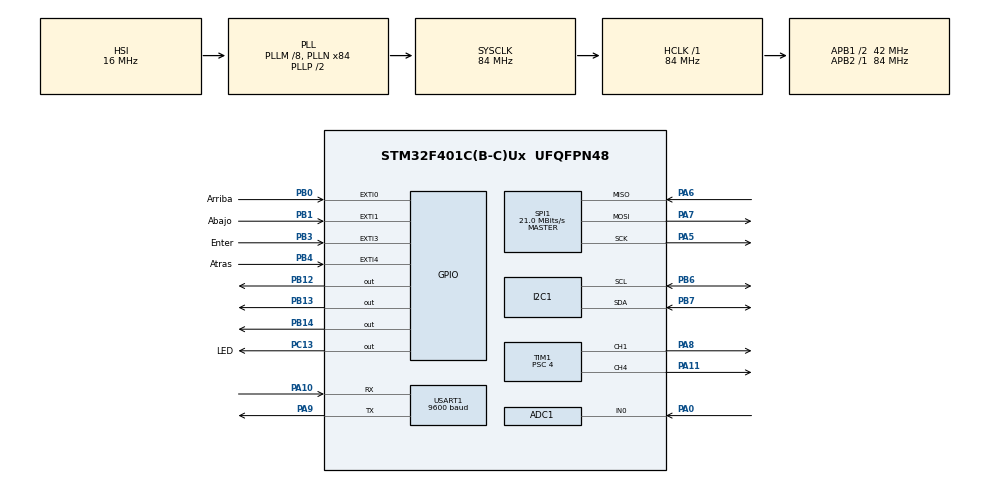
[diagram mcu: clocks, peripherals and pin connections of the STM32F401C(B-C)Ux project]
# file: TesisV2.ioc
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Mcu.Family=STM32F4
PA6.Mode=Full_Duplex_Master
SH.S_TIM1_CH4.0=TIM1_CH4,PWM Generation4 CH4
RCC.CortexFreq_Value=84000000
SPI1.VirtualType=VM_MASTER
Dma.USART1_TX.1.MemInc=DMA_MINC_ENABLE
USART1.BaudRate=9600
NVIC.EXTI3_IRQn=true\:0\:0\:false\:false\:true\:true\:true
VP_RTC_VS_RTC_Activate.Mode=RTC_Enabled
PB0.GPIO_Label=Arriba
PB13.Signal=GPIO_Output
RCC.SYSCLKSource=RCC_SYSCLKSOURCE_PLLCLK
ProjectManager.StackSize=0x400
NVIC.EXTI1_IRQn=true\:0\:0\:false\:false\:true\:true\:true
TIM1.Prescaler=4
PH0\ -\ OSC_IN.Signal=RCC_OSC_IN
TIM1.Channel-PWM\ Generation4\ CH4=TIM_CHANNEL_4
SPI1.Direction=SPI_DIRECTION_2LINES
RCC.HCLKFreq_Value=84000000
RCC.APB2TimFreq_Value=84000000
TIM3.Period=55999
PB6.Signal=I2C1_SCL
PB6.Mode=I2C
SPI1.CalculateBaudRate=21.0 MBits/s
RCC.AHBFreq_Value=84000000
Dma.USART1_RX.0.Priority=DMA_PRIORITY_LOW
ADC1.Channel-0\#ChannelRegularConversion=ADC_CHANNEL_0
RCC.HSE_VALUE=25000000
PC13-ANTI_TAMP.Signal=GPIO_Output
PC14-OSC32_IN.Mode=LSE-External-Oscillator
TIM1.Channel-PWM\ Generation1\ CH1=TIM_CHANNEL_1
PA14.Mode=Serial_Wire
TIM3.Prescaler=149
PB1.GPIO_Label=Abajo
NVIC.TIM2_IRQn=true\:0\:0\:false\:false\:true\:true\:true
PB7.Signal=I2C1_SDA
PA8.Signal=S_TIM1_CH1
SH.ADCx_IN0.0=ADC1_IN0,IN0
TIM4.Period=55999
Dma.USART1_RX.0.MemInc=DMA_MINC_ENABLE
VP_TIM1_VS_ClockSourceINT.Mode=Internal
ADC1.SamplingTime-0\#ChannelRegularConversion=ADC_SAMPLETIME_3CYCLES
Dma.USART1_TX.1.PeriphDataAlignment=DMA_PDATAALIGN_BYTE
Mcu.Package=UFQFPN48
TIM2.Prescaler=999
PB1.Signal=GPXTI1
PA6.Signal=SPI1_MISO
NVIC.DMA2_Stream7_IRQn=true\:0\:0\:false\:false\:true\:false\:true
PA10.Signal=USART1_RX
Dma.USART1_RX.0.FIFOMode=DMA_FIFOMODE_DISABLE
NVIC.DMA2_Stream2_IRQn=true\:0\:0\:false\:false\:true\:false\:true
Dma.Request1=USART1_TX
RCC.APB1TimFreq_Value=84000000
Dma.USART1_RX.0.Mode=DMA_NORMAL
Dma.USART1_TX.1.Priority=DMA_PRIORITY_LOW
TIM1.Period=8399
NVIC.USART1_IRQn=true\:0\:0\:false\:false\:true\:true\:true
Dma.Request0=USART1_RX
SPI1.BaudRatePrescaler=SPI_BAUDRATEPRESCALER_4
Dma.USART1_RX.0.Instance=DMA2_Stream2
VP_TIM3_VS_ClockSourceINT.Mode=Internal
PB4.Signal=GPXTI4
PA5.Mode=Full_Duplex_Master
Dma.USART1_TX.1.Direction=DMA_MEMORY_TO_PERIPH
PB3.GPIO_Label=Enter
PC15-OSC32_OUT.Mode=LSE-External-Oscillator
Dma.USART1_TX.1.Instance=DMA2_Stream7
NVIC.EXTI4_IRQn=true\:0\:0\:false\:false\:true\:true\:true
ADC1.Rank-0\#ChannelRegularConversion=1
PA7.Mode=Full_Duplex_Master
Dma.USART1_RX.0.PeriphDataAlignment=DMA_PDATAALIGN_BYTE
PA10.Mode=Asynchronous
PC13-ANTI_TAMP.GPIO_Label=LED
PH1\ -\ OSC_OUT.Mode=HSE-External-Oscillator
RCC.APB1CLKDivider=RCC_HCLK_DIV2
PC14-OSC32_IN.Signal=RCC_OSC32_IN
PC13-ANTI_TAMP.PinState=GPIO_PIN_SET
PA0-WKUP.Signal=ADCx_IN0
PA13.Signal=SYS_JTMS-SWDIO
PA9.Mode=Asynchronous
PH0\ -\ OSC_IN.Mode=HSE-External-Oscillator
SH.S_TIM1_CH1.0=TIM1_CH1,PWM Generation1 CH1
ProjectManager.TargetToolchain=STM32CubeIDE
PB14.GPIO_Speed=GPIO_SPEED_FREQ_LOW
Dma.USART1_RX.0.Direction=DMA_PERIPH_TO_MEMORY
PA9.Signal=USART1_TX
PB13.GPIO_Speed=GPIO_SPEED_FREQ_LOW
Dma.USART1_TX.1.FIFOMode=DMA_FIFOMODE_DISABLE
TIM4.Prescaler=1499
PC15-OSC32_OUT.Signal=RCC_OSC32_OUT
Dma.USART1_RX.0.PeriphInc=DMA_PINC_DISABLE
PB12.GPIO_Speed=GPIO_SPEED_FREQ_LOW
PB14.Signal=GPIO_Output
PA5.Signal=SPI1_SCK
PH1\ -\ OSC_OUT.Signal=RCC_OSC_OUT
Dma.USART1_TX.1.MemDataAlignment=DMA_MDATAALIGN_BYTE
board=custom
RCC.VCOOutputFreq_Value=168000000
NVIC.TIM3_IRQn=true\:0\:0\:false\:false\:true\:true\:true
RCC.APB2Freq_Value=84000000
PB4.GPIO_Label=Atras
VP_TIM2_VS_ClockSourceINT.Mode=Internal
SPI1.Mode=SPI_MODE_MASTER
Dma.USART1_RX.0.MemDataAlignment=DMA_MDATAALIGN_BYTE
TIM2.Period=7199
PA13.Mode=Serial_Wire
Mcu.Name=STM32F401C(B-C)Ux
RCC.48MHZClocksFreq_Value=42000000
PB3.Signal=GPXTI3
NVIC.EXTI0_IRQn=true\:0\:0\:false\:false\:true\:true\:true
RCC.SYSCLKFreq_VALUE=84000000
ADC1.master=1
Dma.USART1_TX.1.Mode=DMA_NORMAL
USART1.VirtualMode=VM_ASYNC
PB7.Mode=I2C
PA11.Signal=S_TIM1_CH4
PA14.Signal=SYS_JTCK-SWCLK
ProjectManager.HeapSize=0x200
Dma.USART1_TX.1.PeriphInc=DMA_PINC_DISABLE
RCC.HSI_VALUE=16000000
VP_TIM4_VS_ClockSourceINT.Mode=Internal
NVIC.PriorityGroup=NVIC_PRIORITYGROUP_4
ADC1.NbrOfConversionFlag=1
RCC.PLLM=8
RCC.PLLN=84
NVIC.TIM4_IRQn=true\:0\:0\:false\:false\:true\:true\:true
RCC.APB1Freq_Value=42000000
PB0.Signal=GPXTI0
ADC1.ClockPrescaler=ADC_CLOCK_SYNC_PCLK_DIV4
PB12.Signal=GPIO_Output
PA7.Signal=SPI1_MOSI

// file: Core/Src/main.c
/* USER CODE BEGIN Header */
/**
  ******************************************************************************
  * @file           : main.c
  * @brief          : Main program body
  ******************************************************************************
  * @attention
  *
  * <h2><center>&copy; Copyright (c) 2021 STMicroelectronics.
  * All rights reserved.</center></h2>
  *
  * This software component is licensed by ST under BSD 3-Clause license,
  * the "License"; You may not use this file except in compliance with the
  * License. You may obtain a copy of the License at:
  *                        opensource.org/licenses/BSD-3-Clause
  *
  ******************************************************************************
  */
/* USER CODE END Header */
#include "main.h"

/* USER CODE BEGIN Includes */
#include "string.h"
#include "stdio.h"
#include "stdlib.h"
#include "ST7735.h"
#include "GFX_FUNCTIONS.h"
#include "MPU_9250.h"
#include "image.h"
/* USER CODE END Includes */

ADC_HandleTypeDef hadc1;

I2C_HandleTypeDef hi2c1;

RTC_HandleTypeDef hrtc;

SPI_HandleTypeDef hspi1;

TIM_HandleTypeDef htim1;
TIM_HandleTypeDef htim2;
TIM_HandleTypeDef htim3;
TIM_HandleTypeDef htim4;

UART_HandleTypeDef huart1;
DMA_HandleTypeDef hdma_usart1_rx;
DMA_HandleTypeDef hdma_usart1_tx;

void SystemClock_Config(void);
static void MX_GPIO_Init(void);
static void MX_DMA_Init(void);
static void MX_I2C1_Init(void);
static void MX_TIM2_Init(void);
static void MX_USART1_UART_Init(void);
static void MX_RTC_Init(void);
static void MX_SPI1_Init(void);
static void MX_ADC1_Init(void);
static void MX_TIM1_Init(void);
static void MX_TIM3_Init(void);
static void MX_TIM4_Init(void);
/* USER CODE BEGIN PFP */
void Logo_Ecci(void);
void set_time(void);
void get_time(void);
void Clock_Ecci(void);

/* USER CODE END PFP */

/* USER CODE BEGIN 0 */
float pulse = 8399;
int iniSendUart = 0;
char Nombre[50];

uint8_t rx_buff[1];
void HAL_UART_RxCpltCallback (UART_HandleTypeDef *huart){
	HAL_UART_Receive_DMA(&huart1,rx_buff,1);
	if(rx_buff[0] == 49){
		//HAL_TIM_Base_Start_IT(&htim2);
		iniSendUart = 1;
	}
	else if(rx_buff[0] == 115){
		HAL_TIM_Base_Stop_IT(&htim2);
	}
}
/* USER CODE END 0 */

int main(void)
{

  /* MCU Configuration--------------------------------------------------------*/

  /* Reset of all peripherals, Initializes the Flash interface and the Systick. */
  HAL_Init();

  /* Configure the system clock */
  SystemClock_Config();

  /* Initialize all configured peripherals */
  MX_GPIO_Init();
  MX_DMA_Init();
  MX_I2C1_Init();
  MX_TIM2_Init();
  MX_USART1_UART_Init();
  MX_RTC_Init();
  MX_SPI1_Init();
  MX_ADC1_Init();
  MX_TIM1_Init();
  MX_TIM3_Init();
  MX_TIM4_Init();
  /* USER CODE BEGIN 2 */
  HAL_TIM_PWM_Start(&htim1,TIM_CHANNEL_4);
  __HAL_TIM_SET_COMPARE(&htim1, TIM_CHANNEL_4, pulse);
  zeros();
  ST7735_Init(0);
  	if(HAL_RTCEx_BKUPRead(&hrtc, RTC_BKP_DR1) != 0x32F2){
  		set_time();
  	}
  	fillScreen(BLACK);
  	sprintf(Nombre,"Created By:");
  	ST7735_WriteString(25,0,Nombre, Font_7x10, WHITE,BLACK);
  	sprintf(Nombre,"Esteban Beltran");
  	ST7735_WriteString(11,50,Nombre, Font_7x10, WHITE,BLACK);
  	sprintf(Nombre,"Eng. Mechatronic");
  	ST7735_WriteString(8,65,Nombre, Font_7x10, WHITE,BLACK);
  	sprintf(Nombre,"Fimware V.2.0.0.");
  	ST7735_WriteString(8,110,Nombre, Font_7x10, WHITE,BLACK);
  	HAL_Delay(800);
  	fillScreen(BLACK);
  	Logo_Ecci();
  	HAL_Delay(1000);
  	MPU9250_Init();
  	initAK8963();
  	HAL_UART_Receive_DMA(&huart1,rx_buff,1);
  	for (int i = 0; i<15;i++){
  		MPU9250_LectureWithFilter();
  	}
  /* USER CODE END 2 */

  /* Infinite loop */
  while (1)
  {

  }
}

void SystemClock_Config(void)
{
  RCC_OscInitTypeDef RCC_OscInitStruct = {0};
  RCC_ClkInitTypeDef RCC_ClkInitStruct = {0};
  RCC_PeriphCLKInitTypeDef PeriphClkInitStruct = {0};

  /** Configure the main internal regulator output voltage
  */
  __HAL_RCC_PWR_CLK_ENABLE();
  __HAL_PWR_VOLTAGESCALING_CONFIG(PWR_REGULATOR_VOLTAGE_SCALE2);
  /** Initializes the RCC Oscillators according to the specified parameters
  * in the RCC_OscInitTypeDef structure.
  */
  RCC_OscInitStruct.OscillatorType = RCC_OSCILLATORTYPE_HSI|RCC_OSCILLATORTYPE_LSI;
  RCC_OscInitStruct.HSIState = RCC_HSI_ON;
  RCC_OscInitStruct.HSICalibrationValue = RCC_HSICALIBRATION_DEFAULT;
  RCC_OscInitStruct.LSIState = RCC_LSI_ON;
  RCC_OscInitStruct.PLL.PLLState = RCC_PLL_ON;
  RCC_OscInitStruct.PLL.PLLSource = RCC_PLLSOURCE_HSI;
  RCC_OscInitStruct.PLL.PLLM = 8;
  RCC_OscInitStruct.PLL.PLLN = 84;
  RCC_OscInitStruct.PLL.PLLP = RCC_PLLP_DIV2;
  RCC_OscInitStruct.PLL.PLLQ = 4;
  if (HAL_RCC_OscConfig(&RCC_OscInitStruct) != HAL_OK)
  {
    Error_Handler();
  }
  /** Initializes the CPU, AHB and APB buses clocks
  */
  RCC_ClkInitStruct.ClockType = RCC_CLOCKTYPE_HCLK|RCC_CLOCKTYPE_SYSCLK
                              |RCC_CLOCKTYPE_PCLK1|RCC_CLOCKTYPE_PCLK2;
  RCC_ClkInitStruct.SYSCLKSource = RCC_SYSCLKSOURCE_PLLCLK;
  RCC_ClkInitStruct.AHBCLKDivider = RCC_SYSCLK_DIV1;
  RCC_ClkInitStruct.APB1CLKDivider = RCC_HCLK_DIV2;
  RCC_ClkInitStruct.APB2CLKDivider = RCC_HCLK_DIV1;

  if (HAL_RCC_ClockConfig(&RCC_ClkInitStruct, FLASH_LATENCY_2) != HAL_OK)
  {
    Error_Handler();
  }
  PeriphClkInitStruct.PeriphClockSelection = RCC_PERIPHCLK_RTC;
  PeriphClkInitStruct.RTCClockSelection = RCC_RTCCLKSOURCE_LSI;
  if (HAL_RCCEx_PeriphCLKConfig(&PeriphClkInitStruct) != HAL_OK)
  {
    Error_Handler();
  }
}

static void MX_ADC1_Init(void)
{

  ADC_ChannelConfTypeDef sConfig = {0};

  /** Configure the global features of the ADC (Clock, Resolution, Data Alignment and number of conversion)
  */
  hadc1.Instance = ADC1;
  hadc1.Init.ClockPrescaler = ADC_CLOCK_SYNC_PCLK_DIV4;
  hadc1.Init.Resolution = ADC_RESOLUTION_12B;
  hadc1.Init.ScanConvMode = DISABLE;
  hadc1.Init.ContinuousConvMode = DISABLE;
  hadc1.Init.DiscontinuousConvMode = DISABLE;
  hadc1.Init.ExternalTrigConvEdge = ADC_EXTERNALTRIGCONVEDGE_NONE;
  hadc1.Init.ExternalTrigConv = ADC_SOFTWARE_START;
  hadc1.Init.DataAlign = ADC_DATAALIGN_RIGHT;
  hadc1.Init.NbrOfConversion = 1;
  hadc1.Init.DMAContinuousRequests = DISABLE;
  hadc1.Init.EOCSelection = ADC_EOC_SINGLE_CONV;
  if (HAL_ADC_Init(&hadc1) != HAL_OK)
  {
    Error_Handler();
  }
  /** Configure for the selected ADC regular channel its corresponding rank in the sequencer and its sample time.
  */
  sConfig.Channel = ADC_CHANNEL_0;
  sConfig.Rank = 1;
  sConfig.SamplingTime = ADC_SAMPLETIME_3CYCLES;
  if (HAL_ADC_ConfigChannel(&hadc1, &sConfig) != HAL_OK)
  {
    Error_Handler();
  }

}

static void MX_I2C1_Init(void)
{

  hi2c1.Instance = I2C1;
  hi2c1.Init.ClockSpeed = 100000;
  hi2c1.Init.DutyCycle = I2C_DUTYCYCLE_2;
  hi2c1.Init.OwnAddress1 = 0;
  hi2c1.Init.AddressingMode = I2C_ADDRESSINGMODE_7BIT;
  hi2c1.Init.DualAddressMode = I2C_DUALADDRESS_DISABLE;
  hi2c1.Init.OwnAddress2 = 0;
  hi2c1.Init.GeneralCallMode = I2C_GENERALCALL_DISABLE;
  hi2c1.Init.NoStretchMode = I2C_NOSTRETCH_DISABLE;
  if (HAL_I2C_Init(&hi2c1) != HAL_OK)
  {
    Error_Handler();
  }

}

static void MX_RTC_Init(void)
{

  /** Initialize RTC Only
  */
  hrtc.Instance = RTC;
  hrtc.Init.HourFormat = RTC_HOURFORMAT_24;
  hrtc.Init.AsynchPrediv = 127;
  hrtc.Init.SynchPrediv = 255;
  hrtc.Init.OutPut = RTC_OUTPUT_DISABLE;
  hrtc.Init.OutPutPolarity = RTC_OUTPUT_POLARITY_HIGH;
  hrtc.Init.OutPutType = RTC_OUTPUT_TYPE_OPENDRAIN;
  if (HAL_RTC_Init(&hrtc) != HAL_OK)
  {
    Error_Handler();
  }

}

static void MX_SPI1_Init(void)
{

  /* SPI1 parameter configuration*/
  hspi1.Instance = SPI1;
  hspi1.Init.Mode = SPI_MODE_MASTER;
  hspi1.Init.Direction = SPI_DIRECTION_2LINES;
  hspi1.Init.DataSize = SPI_DATASIZE_8BIT;
  hspi1.Init.CLKPolarity = SPI_POLARITY_LOW;
  hspi1.Init.CLKPhase = SPI_PHASE_1EDGE;
  hspi1.Init.NSS = SPI_NSS_SOFT;
  hspi1.Init.BaudRatePrescaler = SPI_BAUDRATEPRESCALER_4;
  hspi1.Init.FirstBit = SPI_FIRSTBIT_MSB;
  hspi1.Init.TIMode = SPI_TIMODE_DISABLE;
  hspi1.Init.CRCCalculation = SPI_CRCCALCULATION_DISABLE;
  hspi1.Init.CRCPolynomial = 10;
  if (HAL_SPI_Init(&hspi1) != HAL_OK)
  {
    Error_Handler();
  }

}

static void MX_TIM1_Init(void)
{

  TIM_ClockConfigTypeDef sClockSourceConfig = {0};
  TIM_MasterConfigTypeDef sMasterConfig = {0};
  TIM_OC_InitTypeDef sConfigOC = {0};
  TIM_BreakDeadTimeConfigTypeDef sBreakDeadTimeConfig = {0};

  htim1.Instance = TIM1;
  htim1.Init.Prescaler = 4;
  htim1.Init.CounterMode = TIM_COUNTERMODE_UP;
  htim1.Init.Period = 8399;
  htim1.Init.ClockDivision = TIM_CLOCKDIVISION_DIV1;
  htim1.Init.RepetitionCounter = 0;
  htim1.Init.AutoReloadPreload = TIM_AUTORELOAD_PRELOAD_DISABLE;
  if (HAL_TIM_Base_Init(&htim1) != HAL_OK)
  {
    Error_Handler();
  }
  sClockSourceConfig.ClockSource = TIM_CLOCKSOURCE_INTERNAL;
  if (HAL_TIM_ConfigClockSource(&htim1, &sClockSourceConfig) != HAL_OK)
  {
    Error_Handler();
  }
  if (HAL_TIM_PWM_Init(&htim1) != HAL_OK)
  {
    Error_Handler();
  }
  sMasterConfig.MasterOutputTrigger = TIM_TRGO_RESET;
  sMasterConfig.MasterSlaveMode = TIM_MASTERSLAVEMODE_DISABLE;
  if (HAL_TIMEx_MasterConfigSynchronization(&htim1, &sMasterConfig) != HAL_OK)
  {
    Error_Handler();
  }
  sConfigOC.OCMode = TIM_OCMODE_PWM1;
  sConfigOC.Pulse = 0;
  sConfigOC.OCPolarity = TIM_OCPOLARITY_HIGH;
  sConfigOC.OCNPolarity = TIM_OCNPOLARITY_HIGH;
  sConfigOC.OCFastMode = TIM_OCFAST_DISABLE;
  sConfigOC.OCIdleState = TIM_OCIDLESTATE_RESET;
  sConfigOC.OCNIdleState = TIM_OCNIDLESTATE_RESET;
  if (HAL_TIM_PWM_ConfigChannel(&htim1, &sConfigOC, TIM_CHANNEL_1) != HAL_OK)
  {
    Error_Handler();
  }
  if (HAL_TIM_PWM_ConfigChannel(&htim1, &sConfigOC, TIM_CHANNEL_4) != HAL_OK)
  {
    Error_Handler();
  }
  sBreakDeadTimeConfig.OffStateRunMode = TIM_OSSR_DISABLE;
  sBreakDeadTimeConfig.OffStateIDLEMode = TIM_OSSI_DISABLE;
  sBreakDeadTimeConfig.LockLevel = TIM_LOCKLEVEL_OFF;
  sBreakDeadTimeConfig.DeadTime = 0;
  sBreakDeadTimeConfig.BreakState = TIM_BREAK_DISABLE;
  sBreakDeadTimeConfig.BreakPolarity = TIM_BREAKPOLARITY_HIGH;
  sBreakDeadTimeConfig.AutomaticOutput = TIM_AUTOMATICOUTPUT_DISABLE;
  if (HAL_TIMEx_ConfigBreakDeadTime(&htim1, &sBreakDeadTimeConfig) != HAL_OK)
  {
    Error_Handler();
  }
  HAL_TIM_MspPostInit(&htim1);

}

static void MX_TIM2_Init(void)
{

  TIM_ClockConfigTypeDef sClockSourceConfig = {0};
  TIM_MasterConfigTypeDef sMasterConfig = {0};

  htim2.Instance = TIM2;
  htim2.Init.Prescaler = 999;
  htim2.Init.CounterMode = TIM_COUNTERMODE_UP;
  htim2.Init.Period = 7199;
  htim2.Init.ClockDivision = TIM_CLOCKDIVISION_DIV1;
  htim2.Init.AutoReloadPreload = TIM_AUTORELOAD_PRELOAD_DISABLE;
  if (HAL_TIM_Base_Init(&htim2) != HAL_OK)
  {
    Error_Handler();
  }
  sClockSourceConfig.ClockSource = TIM_CLOCKSOURCE_INTERNAL;
  if (HAL_TIM_ConfigClockSource(&htim2, &sClockSourceConfig) != HAL_OK)
  {
    Error_Handler();
  }
  sMasterConfig.MasterOutputTrigger = TIM_TRGO_RESET;
  sMasterConfig.MasterSlaveMode = TIM_MASTERSLAVEMODE_DISABLE;
  if (HAL_TIMEx_MasterConfigSynchronization(&htim2, &sMasterConfig) != HAL_OK)
  {
    Error_Handler();
  }

}

static void MX_TIM3_Init(void)
{

  TIM_ClockConfigTypeDef sClockSourceConfig = {0};
  TIM_MasterConfigTypeDef sMasterConfig = {0};

  htim3.Instance = TIM3;
  htim3.Init.Prescaler = 149;
  htim3.Init.CounterMode = TIM_COUNTERMODE_UP;
  htim3.Init.Period = 55999;
  htim3.Init.ClockDivision = TIM_CLOCKDIVISION_DIV1;
  htim3.Init.AutoReloadPreload = TIM_AUTORELOAD_PRELOAD_DISABLE;
  if (HAL_TIM_Base_Init(&htim3) != HAL_OK)
  {
    Error_Handler();
  }
  sClockSourceConfig.ClockSource = TIM_CLOCKSOURCE_INTERNAL;
  if (HAL_TIM_ConfigClockSource(&htim3, &sClockSourceConfig) != HAL_OK)
  {
    Error_Handler();
  }
  sMasterConfig.MasterOutputTrigger = TIM_TRGO_RESET;
  sMasterConfig.MasterSlaveMode = TIM_MASTERSLAVEMODE_DISABLE;
  if (HAL_TIMEx_MasterConfigSynchronization(&htim3, &sMasterConfig) != HAL_OK)
  {
    Error_Handler();
  }

}

static void MX_TIM4_Init(void)
{

  TIM_ClockConfigTypeDef sClockSourceConfig = {0};
  TIM_MasterConfigTypeDef sMasterConfig = {0};

  htim4.Instance = TIM4;
  htim4.Init.Prescaler = 1499;
  htim4.Init.CounterMode = TIM_COUNTERMODE_UP;
  htim4.Init.Period = 55999;
  htim4.Init.ClockDivision = TIM_CLOCKDIVISION_DIV1;
  htim4.Init.AutoReloadPreload = TIM_AUTORELOAD_PRELOAD_DISABLE;
  if (HAL_TIM_Base_Init(&htim4) != HAL_OK)
  {
    Error_Handler();
  }
  sClockSourceConfig.ClockSource = TIM_CLOCKSOURCE_INTERNAL;
  if (HAL_TIM_ConfigClockSource(&htim4, &sClockSourceConfig) != HAL_OK)
  {
    Error_Handler();
  }
  sMasterConfig.MasterOutputTrigger = TIM_TRGO_RESET;
  sMasterConfig.MasterSlaveMode = TIM_MASTERSLAVEMODE_DISABLE;
  if (HAL_TIMEx_MasterConfigSynchronization(&htim4, &sMasterConfig) != HAL_OK)
  {
    Error_Handler();
  }

}

static void MX_USART1_UART_Init(void)
{

  huart1.Instance = USART1;
  huart1.Init.BaudRate = 9600;
  huart1.Init.WordLength = UART_WORDLENGTH_8B;
  huart1.Init.StopBits = UART_STOPBITS_1;
  huart1.Init.Parity = UART_PARITY_NONE;
  huart1.Init.Mode = UART_MODE_TX_RX;
  huart1.Init.HwFlowCtl = UART_HWCONTROL_NONE;
  huart1.Init.OverSampling = UART_OVERSAMPLING_16;
  if (HAL_UART_Init(&huart1) != HAL_OK)
  {
    Error_Handler();
  }

}

static void MX_DMA_Init(void)
{

  /* DMA controller clock enable */
  __HAL_RCC_DMA2_CLK_ENABLE();

  /* DMA interrupt init */
  /* DMA2_Stream2_IRQn interrupt configuration */
  HAL_NVIC_SetPriority(DMA2_Stream2_IRQn, 0, 0);
  HAL_NVIC_EnableIRQ(DMA2_Stream2_IRQn);
  /* DMA2_Stream7_IRQn interrupt configuration */
  HAL_NVIC_SetPriority(DMA2_Stream7_IRQn, 0, 0);
  HAL_NVIC_EnableIRQ(DMA2_Stream7_IRQn);

}

static void MX_GPIO_Init(void)
{
  GPIO_InitTypeDef GPIO_InitStruct = {0};

  /* GPIO Ports Clock Enable */
  __HAL_RCC_GPIOC_CLK_ENABLE();
  __HAL_RCC_GPIOH_CLK_ENABLE();
  __HAL_RCC_GPIOA_CLK_ENABLE();
  __HAL_RCC_GPIOB_CLK_ENABLE();

  /*Configure GPIO pin Output Level */
  HAL_GPIO_WritePin(LED_GPIO_Port, LED_Pin, GPIO_PIN_SET);

  /*Configure GPIO pin Output Level */
  HAL_GPIO_WritePin(GPIOB, GPIO_PIN_12|GPIO_PIN_13|GPIO_PIN_14, GPIO_PIN_RESET);

  /*Configure GPIO pin : LED_Pin */
  GPIO_InitStruct.Pin = LED_Pin;
  GPIO_InitStruct.Mode = GPIO_MODE_OUTPUT_PP;
  GPIO_InitStruct.Pull = GPIO_NOPULL;
  GPIO_InitStruct.Speed = GPIO_SPEED_FREQ_LOW;
  HAL_GPIO_Init(LED_GPIO_Port, &GPIO_InitStruct);

  /*Configure GPIO pins : PA1 PA2 PA3 PA4
                           PA12 PA15 */
  GPIO_InitStruct.Pin = GPIO_PIN_1|GPIO_PIN_2|GPIO_PIN_3|GPIO_PIN_4
                          |GPIO_PIN_12|GPIO_PIN_15;
  GPIO_InitStruct.Mode = GPIO_MODE_ANALOG;
  GPIO_InitStruct.Pull = GPIO_NOPULL;
  HAL_GPIO_Init(GPIOA, &GPIO_InitStruct);

  /*Configure GPIO pins : Arriba_Pin Abajo_Pin Enter_Pin Atras_Pin */
  GPIO_InitStruct.Pin = Arriba_Pin|Abajo_Pin|Enter_Pin|Atras_Pin;
  GPIO_InitStruct.Mode = GPIO_MODE_IT_RISING;
  GPIO_InitStruct.Pull = GPIO_NOPULL;
  HAL_GPIO_Init(GPIOB, &GPIO_InitStruct);

  /*Configure GPIO pins : PB2 PB10 PB15 PB5
                           PB8 PB9 */
  GPIO_InitStruct.Pin = GPIO_PIN_2|GPIO_PIN_10|GPIO_PIN_15|GPIO_PIN_5
                          |GPIO_PIN_8|GPIO_PIN_9;
  GPIO_InitStruct.Mode = GPIO_MODE_ANALOG;
  GPIO_InitStruct.Pull = GPIO_NOPULL;
  HAL_GPIO_Init(GPIOB, &GPIO_InitStruct);

  /*Configure GPIO pins : PB12 PB13 PB14 */
  GPIO_InitStruct.Pin = GPIO_PIN_12|GPIO_PIN_13|GPIO_PIN_14;
  GPIO_InitStruct.Mode = GPIO_MODE_OUTPUT_PP;
  GPIO_InitStruct.Pull = GPIO_NOPULL;
  GPIO_InitStruct.Speed = GPIO_SPEED_FREQ_LOW;
  HAL_GPIO_Init(GPIOB, &GPIO_InitStruct);

  /* EXTI interrupt init*/
  HAL_NVIC_SetPriority(EXTI0_IRQn, 0, 0);
  HAL_NVIC_EnableIRQ(EXTI0_IRQn);

  HAL_NVIC_SetPriority(EXTI1_IRQn, 0, 0);
  HAL_NVIC_EnableIRQ(EXTI1_IRQn);

  HAL_NVIC_SetPriority(EXTI3_IRQn, 0, 0);
  HAL_NVIC_EnableIRQ(EXTI3_IRQn);

  HAL_NVIC_SetPriority(EXTI4_IRQn, 0, 0);
  HAL_NVIC_EnableIRQ(EXTI4_IRQn);

}

/* USER CODE BEGIN 4 */
void Logo_Ecci(void){

	for(int i=0;i<7;i++){
		drawLine(15,24,64,i,BLUE);
		drawLine(15,26,80,i+3,BLUE);
		drawLine(16,28,100,i+6,BLUE);
		drawLine(17,30,119,i+10,BLUE);
	}
	for(int i=0;i<7;i++){
		drawLine(17,30,118,i+13,BLUE);
	}
	drawRect(15,34,40,40,BLUE);
	fillRect(15,34,40,40,BLUE);
	ST7735_WriteString(25,42,"E",Font_16x26,WHITE,BLUE);
	drawRect(65,34,45,40,RED);
	fillRect(65,34,45,40,RED);
	ST7735_WriteString(77,42,"C",Font_16x26,WHITE,RED);
	drawRect(15,84,40,40,color565(0xFF, 0xF6, 0x00));
	fillRect(15,84,40,40,color565(0xFF, 0xF6, 0x00));
	ST7735_WriteString(25,94,"C",Font_16x26,WHITE,color565(0xFF, 0xF6, 0x00));
	drawRect(65,84,45,40,BLUE);
	fillRect(65,84,45,40,BLUE);
	ST7735_WriteString(77,94,"I",Font_16x26,WHITE,BLUE);
	for(int i=0;i<40;i++){
		drawLine(3,i+26,15,i+34,BLUE);
		drawLine(3,i+72,15,i+84,color565(0xFF, 0xF6, 0x00));
	}
	for(int i=9;i>5;i--){
		drawCircleHelper(14,24,i,0x8,BLACK);
		drawCircleHelper(14,24,i,0x8,BLACK);
		drawCircleHelper(14,64,i,0x8,BLUE);
		drawCircleHelper(14,64,i,0x8,BLUE);
		drawCircleHelper(14,74,i,0x8,BLACK);
		drawCircleHelper(14,74,i,0x8,BLACK);
		drawCircleHelper(14,114,i,0x8,color565(0xFF, 0xF6, 0x00));
		drawCircleHelper(14,114,i,0x8,color565(0xFF, 0xF6, 0x00));
	}

	HAL_TIM_Base_Start_IT(&htim4);
}

void get_time(void){
	RTC_TimeTypeDef gTime;
	//RTC_DateTypeDef gDate;

	HAL_RTC_GetTime(&hrtc,&gTime,RTC_FORMAT_BIN);

	sprintf(Nombre,"%02d:%02d",gTime.Hours,gTime.Minutes);
	ST7735_WriteString(0,0,Nombre, Font_7x10, WHITE,BLACK);
}
void set_time(void){
  RTC_TimeTypeDef sTime = {0};
  RTC_DateTypeDef DateToUpdate = {0};
	/** Initialize RTC and set the Time and Date
  */
  sTime.Hours = 0x5;
  sTime.Minutes = 0x32;
  sTime.Seconds = 0x0;

  if (HAL_RTC_SetTime(&hrtc, &sTime, RTC_FORMAT_BCD) != HAL_OK)
  {
    Error_Handler();
  }
  DateToUpdate.WeekDay = RTC_WEEKDAY_SUNDAY;
  DateToUpdate.Month = RTC_MONTH_MARCH;
  DateToUpdate.Date = 0x30;
  DateToUpdate.Year = 0x21;
  if (HAL_RTC_SetDate(&hrtc, &DateToUpdate, RTC_FORMAT_BCD) != HAL_OK)
  {
    Error_Handler();
  }
 /* USER CODE BEGIN Check_RTC_BKUP */
	HAL_RTCEx_BKUPWrite(&hrtc,RTC_BKP_DR1,0x32f2);
  /* USER CODE END Check_RTC_BKUP */
}

void Clock_Ecci(void){
	RTC_TimeTypeDef gTime;
	RTC_DateTypeDef gDate;

	HAL_RTC_GetTime(&hrtc,&gTime,RTC_FORMAT_BIN);
	HAL_RTC_GetDate(&hrtc,&gDate,RTC_FORMAT_BIN);
	switch(gDate.WeekDay){
		case(1):
			sprintf(Nombre,"%s","Mon");
			ST7735_WriteString(100,0,Nombre, Font_7x10, WHITE,BLACK);
			break;
		case(2):
			sprintf(Nombre,"%s","Tue");
			ST7735_WriteString(100,0,Nombre, Font_7x10, WHITE,BLACK);
			break;
		case(3):
			sprintf(Nombre,"%s","Wed");
			ST7735_WriteString(100,0,Nombre, Font_7x10, WHITE,BLACK);
			break;
		case(4):
			sprintf(Nombre,"%s","Thu");
			ST7735_WriteString(100,0,Nombre, Font_7x10, WHITE,BLACK);
			break;
		case(5):
			sprintf(Nombre,"%s","Fri");
			ST7735_WriteString(100,0,Nombre, Font_7x10, WHITE,BLACK);
			break;
		case(6):
			sprintf(Nombre,"%s","Sat");
			ST7735_WriteString(100,0,Nombre, Font_7x10, WHITE,BLACK);
			break;
		case(7):
			sprintf(Nombre,"%s","Sun");
			ST7735_WriteString(100,0,Nombre, Font_7x10, WHITE,BLACK);
			break;
	}

	sprintf(Nombre,"%02d/%02d",gDate.Month,gDate.Date);
	ST7735_WriteString(0,0,Nombre, Font_7x10, WHITE,BLACK);

	sprintf(Nombre,"%02d:%02d",gTime.Hours,gTime.Minutes);
	ST7735_WriteString(20,15,Nombre, Font_16x26, WHITE,BLACK);
}
/* USER CODE END 4 */

void Error_Handler(void)
{
  __disable_irq();
  while (1)
  {
  }
}

/************************ (C) COPYRIGHT STMicroelectronics *****END OF FILE****/
